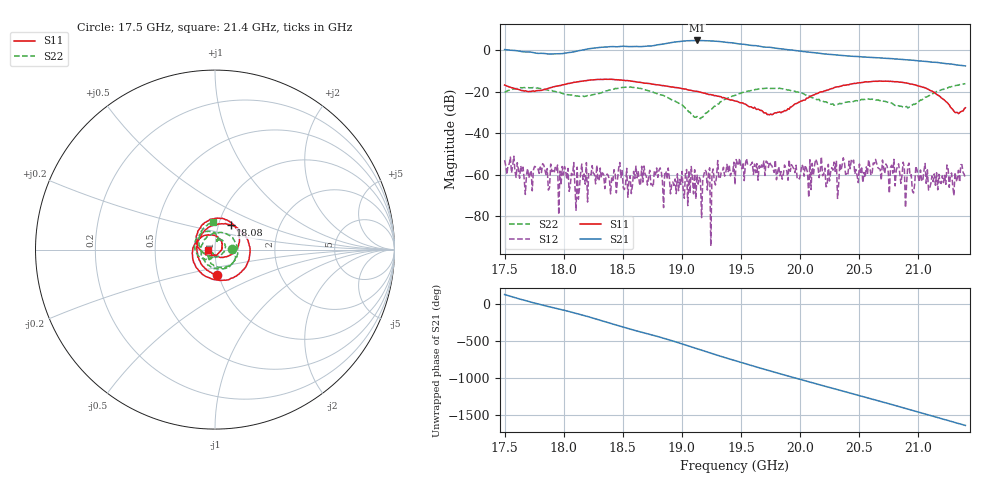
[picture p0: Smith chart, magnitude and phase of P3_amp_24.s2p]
!Created with skrf (http://scikit-rf.org).
# GHz S RI R 50.0
!freq ReS11 ImS11 ReS21 ImS21 ReS12 ImS12 ReS22 ImS22
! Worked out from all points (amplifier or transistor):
!   401 points, 17.5 GHz to 21.4 GHz, reference 50 ohm
!   highest |S21| = 4.5 dB at 19.13 GHz (marker M1)
!   |S21| within 3 dB of that: 18.46 GHz to 19.68 GHz (1.216 GHz wide, 6.38 % of centre) (the widest 1 of 2)
!   unconditionally stable (mu >= 1): start of sweep to end of sweep
!   at 18.14 GHz: K = 443.91, MAG = -0.1 dB, |S12| = -59.1 dB
!   at 19.45 GHz: K = 586.82, MAG = 3.3 dB, |S12| = -64.7 dB
!   at 21.4 GHz: K = 1485.23, MAG = -7.6 dB, |S12| = -62.0 dB
!   S11 on the Smith chart (normalised r, x): 17.5 GHz: 0.98, -0.29; 18.08 GHz: 1.14, +0.32; 21.4 GHz: 0.92, -0.00
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17.5  0.00954 -0.1431  -0.6449 0.79  -0.002 0.00101  0.0966 0.00229
17.7535  -0.0985 0.0227  0.823 0.2016  -2.05e-05 0.00159  0.0763 -0.0985
18.07525  0.0874 0.1372  -0.3267 -0.8249  0.000992 7.93e-05  -0.0752 -0.0325
18.15325  0.1409 0.1061  -0.8073 -0.5658  0.00103 -0.00149  -0.0755 0.0191
18.28  0.1943 0.0134  -1.031 0.4547  0.000937 -0.00142  -0.0187 0.0852
18.42625  0.16 -0.1111  0.0881 1.193  0.00126 -0.0004  0.0913 0.0687
18.6115  0.0176 -0.17  1.215 0.0159  0.0016 0.000169  0.0998 -0.0735
18.8065  -0.1064 -0.0971  0.1758 -1.33  -0.000401 -0.00122  -0.0105 -0.0847
18.99175  -0.1179 0.0212  -1.598 -0.2294  -0.000504 0.000303  -0.0373 -0.0324
19.12825  -0.0671 0.0754  -0.7849 1.494  0.000734 0.000696  -0.016 -0.0194
19.30375  0.00257 0.0772  1.417 0.7587  0.00125 0.00182  -0.0183 -0.0469
19.45  0.0345 0.0481  1.04 -1.009  0.000329 0.00048  -0.0639 -0.0496
19.567  0.0389 0.0194  -0.2175 -1.29  0.00165 -0.000567  -0.1002 -0.0227
19.73275  0.0226 -0.0168  -1.158 -0.1018  0.000837 -0.00124  -0.1053 0.059
19.918  -0.0245 -0.0346  -0.1852 0.9807  -0.0012 -0.000193  -0.0316 0.1021
20.10325  -0.0802 -0.00573  0.818 0.2737  -0.00188 7.41e-05  0.0155 0.0695
20.35675  -0.0965 0.0987  -0.0202 -0.737  -0.00172 -0.000242  0.011 0.0507
20.55175  -0.0262 0.169  -0.6709 -0.043  -0.0004 0.000769  0.035 0.0541
20.7565  0.0836 0.1541  -0.0329 0.6208  -0.0003 0.000194  0.0536 -0.00351
20.94175  0.1355 0.0676  0.5605 0.0957  0.000948 -0.000338  -0.0182 -0.0415
21.127  0.0955 -0.0234  0.1398 -0.4871  0.000418 -0.000544  -0.0869 0.0224
21.4  -0.0407 -0.00184  -0.3918 0.131  -0.000604 -0.000515  -0.00882 0.1547
